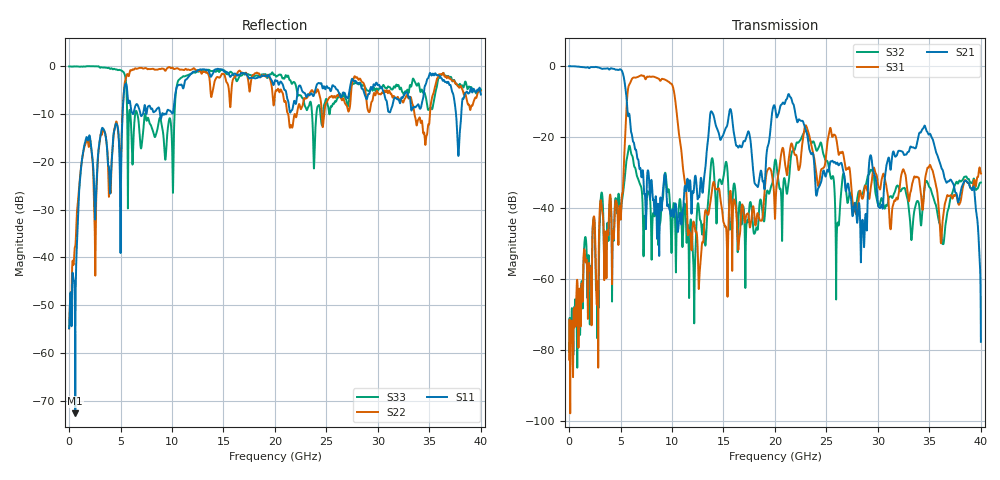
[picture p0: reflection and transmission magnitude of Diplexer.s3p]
! C:\Work\SPARQ2\Technical\Relays\Diplexer_08Aug2018-125042.s3p
! Wed Aug  8 12:50:42 2018
!!Measured using LeCroy SPARQ LCRY2401N02001
!SingleEnded
! freq S11 S12 S13
! S21 S22 S23
! S31 S32 S33
# MHz S MA R 50.00
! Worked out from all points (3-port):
!   8000 points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, 5 MHz to 40 GHz, reference 50 ohm
!   strongest paths, dB at 5 MHz, 10.01 GHz, 20 GHz, 30 GHz, 40 GHz:
!     S21: 0.0, -40.5, -11.6, -39.2, -77.6
!     S31: -82.6, -5.2, -42.9, -33.4, -30.3
!     S32: -80.4, -47.5, -26.5, -38.7, -32.8
!   lowest |S11| = -72.6 dB at 600 MHz (marker M1), VSWR 1.00, Z = 50 + j0.021 ohm
!   |S11| at or under -10 dB: start of sweep to 5.197 GHz; 6.935 GHz to 7.182 GHz (246.7 MHz wide, 3.5 % of centre); 37.58 GHz to 38.1 GHz (512.9 MHz wide, 1.36 % of centre)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
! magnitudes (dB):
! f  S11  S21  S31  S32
! 5 MHz  -54.8  0.0  -82.6  -80.4
! 600 MHz  -72.6  -0.1  -69.2  -65.7
! 6.25 GHz  -9.9  -21.4  -3.2  -26.9
! 10.04 GHz  -9.9  -40.3  -5.5  -43.5
! 12.68 GHz  -0.7  -36.1  -58.4  -42.4
! 20 GHz  -3.0  -11.6  -42.9  -26.5
! 28.5 GHz  -4.7  -43.2  -37.3  -36.0
! 34.62 GHz  -3.9  -17.3  -31.1  -32.7
! 39.24 GHz  -5.0  -34.1  -33.7  -32.1
! 40 GHz  -5.9  -77.6  -30.3  -32.8
